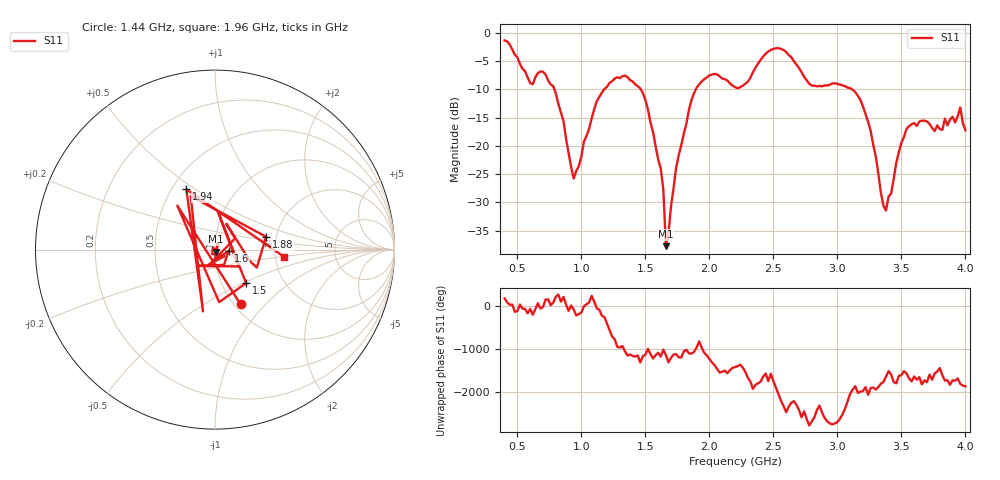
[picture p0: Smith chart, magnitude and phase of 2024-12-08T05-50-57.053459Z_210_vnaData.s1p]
!Created with skrf (http://scikit-rf.org).
# Hz S RI R 50.0
!freq ReS11 ImS11
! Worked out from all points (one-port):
!   181 points, 400 MHz to 4 GHz, reference 50 ohm
!   lowest |S11| = -37.7 dB at 1.66 GHz (marker M1), VSWR 1.03, Z = 50.7 - j1.11 ohm
!   |S11| at or under -10 dB: 789 MHz to 1.177 GHz (388.4 MHz wide, 39.5 % of centre); 1.464 GHz to 1.894 GHz (429.8 MHz wide, 25.6 % of centre); 3.114 GHz to end of sweep
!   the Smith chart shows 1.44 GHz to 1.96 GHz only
!   S11 on the Smith chart (normalised r, x): 1.44 GHz: 1.07, -0.74; 1.5 GHz: 1.30, -0.52; 1.6 GHz: 1.16, -0.02; 1.88 GHz: 1.77, +0.28; 1.94 GHz: 0.59, +0.46; 1.96 GHz: 2.24, -0.22
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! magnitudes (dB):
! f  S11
! 400 MHz  -1.3
! 600 MHz  -8.9
! 720 MHz  -7.4
! 860 MHz  -15.6
! 940 MHz  -25.8
! 1.12 GHz  -12.1
! 1.3 GHz  -8.0
! 1.44 GHz  -9.4
! 1.5 GHz  -11.9
! 1.6 GHz  -22.4
! 1.64 GHz  -27.7
! 1.66 GHz  -37.7
! 1.76 GHz  -21.7
! 1.88 GHz  -10.7
! 1.94 GHz  -8.6
! 1.96 GHz  -8.2
! 2.2 GHz  -9.6
! 2.48 GHz  -3.0
! 2.66 GHz  -5.0
! 2.8 GHz  -9.3
! 3.1 GHz  -9.8
! 3.24 GHz  -15.7
! 3.38 GHz  -31.4
! 3.48 GHz  -21.1
! 3.56 GHz  -16.5
! 3.82 GHz  -17.2
! 3.96 GHz  -13.2
! 4 GHz  -17.2
